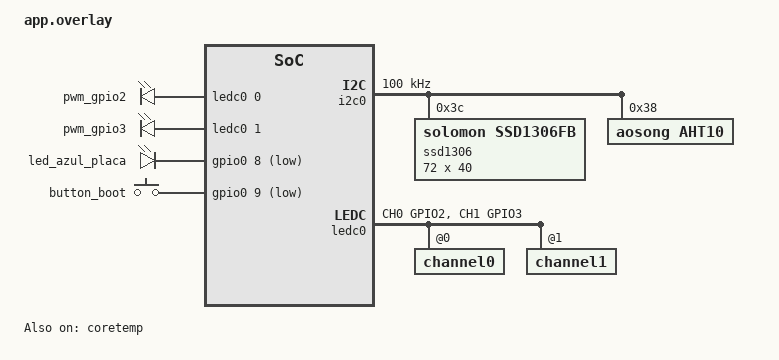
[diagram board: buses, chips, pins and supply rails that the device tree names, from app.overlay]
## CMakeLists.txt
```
# SPDX-License-Identifier: Apache-2.0

# Define the minimum CMake version required by the Zephyr SDK
cmake_minimum_required(VERSION 3.20.0)

# Locate and load the Zephyr build system package
find_package(Zephyr REQUIRED HINTS $ENV{ZEPHYR_BASE})

# Define the project name
project(cfb)

# Source File Discovery: Automatically gathers all '.c' files in 'src'.
# This allows for a modular project structure without manual file listing.
FILE(GLOB app_sources src/*.c)

# Application Target: Links the discovered source files.
target_sources(app PRIVATE ${app_sources})

# Include Directory Mapping: Tells the compiler where to look for .h files.
# This enables the use of #include "filename.h" for files inside 'inc'.
target_include_directories(app PRIVATE inc)
```

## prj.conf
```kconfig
CONFIG_STDOUT_CONSOLE=y

CONFIG_HEAP_MEM_POOL_SIZE=16384

CONFIG_I2C=y

CONFIG_DISPLAY=y
CONFIG_SSD1306=y

CONFIG_LOG=y
CONFIG_CHARACTER_FRAMEBUFFER=y

CONFIG_SENSOR=y

CONFIG_WATCHDOG=y

CONFIG_PWM=y

CONFIG_NVS=y
CONFIG_FLASH=y
CONFIG_FLASH_PAGE_LAYOUT=y
CONFIG_MPU_ALLOW_FLASH_WRITE=y

CONFIG_LOG=y
CONFIG_WIFI=y
CONFIG_NET_L2_WIFI_MGMT=y
CONFIG_NETWORKING=y
CONFIG_NET_IPV4=y
CONFIG_NET_IPV4=y
CONFIG_NET_DHCPV4=y
CONFIG_NET_CONFIG_SETTINGS=y
CONFIG_NET_PKT_RX_COUNT=6
CONFIG_NET_PKT_TX_COUNT=6
CONFIG_NET_BUF_RX_COUNT=16
CONFIG_NET_BUF_TX_COUNT=16
CONFIG_HEAP_MEM_POOL_SIZE=60000
```

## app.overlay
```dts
#include <zephyr/dt-bindings/i2c/i2c.h>
#include <zephyr/dt-bindings/pwm/pwm.h>

/ {
	#address-cells = <1>;
	#size-cells = <1>;

	cpus {
		cpu0: cpu@0 {
			device_type = "cpu";
			compatible = "espressif,riscv";
			reg = <0>;
			clock-frequency = <160000000>;
			xtal-freq = <40000000>;
		};
	};

	clock: clock {
		compatible = "espressif,esp32-clock";
		status = "okay";
		#clock-cells = <1>;
		fast-clk-src = <1>; 
		slow-clk-src = <0>;
	};
	
	chosen {
		zephyr,display = &ssd1306;
	};

	pwm_leds {
		compatible = "pwm-leds";
		
		pwm_gpio2: pwm_gpio2 {
			pwms = <&ledc0 0 50000 PWM_POLARITY_NORMAL>;	/* 20kHz */
		};
		
		pwm_gpio3: pwm_gpio3 {
			pwms = <&ledc0 1 100000 PWM_POLARITY_NORMAL>;	/* 10kHz */
		};
	};

	aliases {
		led0 = &led_azul_placa;
		sw0 = &button_boot;
	};

	leds {
		compatible = "gpio-leds";
		
		led_azul_placa: led_azul {
			gpios = <&gpio0 8 GPIO_ACTIVE_LOW>;
		};
	};

	buttons {
		compatible = "gpio-keys";
		
		button_boot: button_boot {
			gpios = <&gpio0 9 (GPIO_PULL_UP | GPIO_ACTIVE_LOW)>;
		};
	};
};

&i2c0 {
	status = "okay";
	clock-frequency = <I2C_BITRATE_STANDARD>;

	ssd1306: ssd1306@3c {
		compatible = "solomon,ssd1306fb";
		status = "okay";
		reg = <0x3c>;
		width = <72>;
		height = <40>;
		segment-offset = <28>;
		page-offset = <0>;
		display-offset = <0>;
		multiplex-ratio = <39>;
		segment-remap;
		com-invdir;
		prechargep = <0x22>;
	};
	
	aht10: aht10@38 {
		compatible = "aosong,aht10";
		reg = <0x38>;
	};
};

&coretemp { 
	status = "okay"; 
};

&ledc0 {
	status = "okay";
	#pwm-cells = <3>;
	pinctrl-0 = <&ledc0_default>;
	pinctrl-names = "default";
	#address-cells = <1>;
	#size-cells = <0>;
	
	channel0@0 {
		reg = <0x0>;
		timer = <0>;
	};
	
	channel1@1 { 
		reg = <0x1>;
		timer = <1>;
	};
};

&pinctrl {
	i2c0_default: i2c0_default {
		group1 {
			pinmux = <I2C0_SDA_GPIO5>, <I2C0_SCL_GPIO6>;
			bias-pull-up;
			drive-open-drain;
			output-high;
		};
	};
	
	ledc0_default: ledc0_default {
		group1 {
			pinmux = <LEDC_CH0_GPIO2>, <LEDC_CH1_GPIO3>;
			output-enable;
		};
	};

};
```

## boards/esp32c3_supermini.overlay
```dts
#include <zephyr/dt-bindings/i2c/i2c.h>
#include <zephyr/dt-bindings/pwm/pwm.h>

/ {
	#address-cells = <1>;
	#size-cells = <1>;

	cpus {
		cpu0: cpu@0 {
			device_type = "cpu";
			compatible = "espressif,riscv";
			reg = <0>;
			clock-frequency = <160000000>;
			xtal-freq = <40000000>;
		};
	};

	clock: clock {
		compatible = "espressif,esp32-clock";
		status = "okay";
		#clock-cells = <1>;
		fast-clk-src = <1>; 
		slow-clk-src = <0>;
	};
	
	chosen {
		zephyr,display = &ssd1306;
	};

	pwm_leds {
		compatible = "pwm-leds";
		
		pwm_gpio2: pwm_gpio2 {
			pwms = <&ledc0 0 50000 PWM_POLARITY_NORMAL>;	/* 20kHz */
		};
		
		pwm_gpio3: pwm_gpio3 {
			pwms = <&ledc0 1 100000 PWM_POLARITY_NORMAL>;	/* 10kHz */
		};
	};

	aliases {
		led0 = &led_azul_placa;
		sw0 = &button_boot;
	};

	leds {
		compatible = "gpio-leds";
		
		led_azul_placa: led_azul {
			gpios = <&gpio0 8 GPIO_ACTIVE_LOW>;
		};
	};

	buttons {
		compatible = "gpio-keys";
		
		button_boot: button_boot {
			gpios = <&gpio0 9 (GPIO_PULL_UP | GPIO_ACTIVE_LOW)>;
		};
	};
};

&i2c0 {
	status = "okay";
	clock-frequency = <I2C_BITRATE_FAST>;

	ssd1306: ssd1306@3c {
		compatible = "solomon,ssd1306fb";
		status = "okay";
		reg = <0x3c>;
		width = <72>;
		height = <40>;
		segment-offset = <28>;
		page-offset = <0>;
		display-offset = <0>;
		multiplex-ratio = <39>;
		segment-remap;
		com-invdir;
		prechargep = <0x22>;
	};
	
	aht10: aht10@38 {
		compatible = "aosong,aht10";
		reg = <0x38>;
	};
};

&coretemp { 
	status = "okay"; 
};

&ledc0 {
	status = "okay";
	#pwm-cells = <3>;
	pinctrl-0 = <&ledc0_default>;
	pinctrl-names = "default";
	#address-cells = <1>;
	#size-cells = <0>;
	
	channel0@0 {
		reg = <0x0>;
		timer = <0>;
	};
	
	channel1@1 { 
		reg = <0x1>;
		timer = <1>;
	};
};

&pinctrl {
	i2c0_default: i2c0_default {
		group1 {
			pinmux = <I2C0_SDA_GPIO5>, <I2C0_SCL_GPIO6>;
			bias-pull-up;
			drive-open-drain;
			output-high;
		};
	};
	
	ledc0_default: ledc0_default {
		group1 {
			pinmux = <LEDC_CH0_GPIO2>, <LEDC_CH1_GPIO3>;
			output-enable;
		};
	};

};

&flash0 {
    partitions {
        compatible = "fixed-partitions";
        #address-cells = <1>;
        #size-cells = <1>;

        my_storage: partition@250000 {
            label = "nvs_storage"; 
            reg = <0x00250000 0x00004000>; 
        };
    };
};
```

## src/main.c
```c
#include <zephyr/kernel.h>
#include "wifi_module.h"

int main(void) {
    init_wifi_manager();

    // Pequeno atraso para garantir que o rádio estabilizou
    k_msleep(500);
    
    // Tenta conectar à rede específica
    wifi_connect_to_si();
    
    while (1) {
        k_msleep(1000); // Mantém o main vivo
    }
    return 0;
}
```

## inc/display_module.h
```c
/*
 * Display Module Interface.
 * Defines the shared synchronization primitives and task entry points
 * for the OLED and Sensor management system.
 */

#ifndef DISPLAY_MODULE_H
#define DISPLAY_MODULE_H

#include <zephyr/kernel.h>

/* * Shared Semaphores
 * These are defined in main.c and used here to coordinate 
 * timing and system-ready states.
 */

/** @brief Semaphore triggered by a timer to request a UI redraw. */
extern struct k_sem sem_ui_refresh;

/** @brief Semaphore used to signal that all hardware is ready for use. */
extern struct k_sem sem_system_ready;

/** @brief Optional: Semaphore used for precise sensor measurement timing. */
extern struct k_sem sem_sensor_wait;

/**
 * @brief Main entry point for the display thread.
 * * This function handles the I2C communication with the AHT10 
 * and the frame buffer rendering for the SSD1306.
 */
void display_task_entry(void);

#endif /* DISPLAY_MODULE_H */
```

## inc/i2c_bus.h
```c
/*
 * I2C Bus Manager Interface.
 * Centralizes hardware access and synchronization for all I2C devices.
 */

#ifndef I2C_BUS_H
#define I2C_BUS_H

#include <zephyr/drivers/i2c.h>
#include <zephyr/kernel.h>

/** * @brief External reference to the I2C device specification.
 * * This spec is linked to the 'aht10' node in the devicetree.
 * * Used by both sensor reading and display rendering tasks.
 */
extern const struct i2c_dt_spec sensor_bus;

/** * @brief System-wide I2C Mutex.
 * * Prevents concurrent access to the SDA/SCL lines.
 * * Essential for stability when multiple threads share the same bus.
 */
extern struct k_mutex i2c_mutex;

/**
 * @brief Initializes and verifies the I2C bus hardware.
 * * Checks if the I2C controller is ready.
 * * Performs a software configuration/reset of the bus to ensure 
 * it is in a clean state after a hardware reset.
 */
void init_i2c_bus(void);

#endif /* I2C_BUS_H */
```

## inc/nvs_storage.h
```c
/*
 * Non-Volatile Storage (NVS) Manager Interface.
 * Provides a simplified API for persistent data storage in Flash memory.
 */

#ifndef NVS_STORAGE_H
#define NVS_STORAGE_H

#include <zephyr/types.h>

/** * @brief NVS Data ID for the boot counter.
 * * Each unique piece of data in NVS must have a unique ID (1 to 65535).
 */
#define BOOT_COUNT_ID 1

/**
 * @brief Initializes the Non-Volatile Storage system.
 * * * Locates the flash partition.
 * * Mounts the NVS filesystem.
 * * Formats/Erases the storage area if initialization fails.
 * * @return 0 on success, negative error code on failure.
 */
int init_nvs_storage(void);

/**
 * @brief Increments the boot counter stored in Flash.
 * * * Reads the current value from NVS.
 * * Increments the value (resetting to 1 if it exceeds 5).
 * * Writes the updated value back to Flash.
 * * @return The newly updated boot count (1 to 5).
 */
uint32_t increment_boot_count(void);

#endif /* NVS_STORAGE_H */
```

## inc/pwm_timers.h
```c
/*
 * PWM and GPIO Peripheral Interface.
 * Defines the shared atomic flags, PWM utility macros, and hardware 
 * initialization prototypes for the ESP32-C3 SuperMini.
 */

#ifndef PWM_TIMERS_H
#define PWM_TIMERS_H

#include <zephyr/drivers/gpio.h>
#include <zephyr/drivers/pwm.h>
#include <zephyr/sys/atomic.h>

/**
 * @brief Macro to calculate PWM duty cycle from a percentage.
 * * Converts 0-100% into the period units required by the driver.
 * @param period Total period of the PWM signal (usually in nanoseconds).
 * @param percent Desired duty cycle (0 to 100).
 */
//#define PWM_PERCENT(period, percent)    ((uint64_t)(period) * (percent) / 100)

/* * Shared Atomic Flags
 * Used for thread-safe communication between Timers, ISRs, and the Main Loop.
 */

/** @brief Flag to enable/disable the LED blinking (toggled by Button). */
extern atomic_t heartbeat_enabled;

/** @brief Flag set by the timer to trigger an LED toggle in the main loop. */
extern atomic_t heartbeat_trigger;

/**
 * @brief Initializes all GPIO pins, Interrupts (ISR), and PWM channels.
 * * * Configures internal LED (GPIO8).
 * * Configures Boot Button (GPIO9) with pull-up.
 * * Starts static PWM on GPIO2 and GPIO3.
 */
void init_pwm_gpio(void);

/**
 * @brief Processes the heartbeat LED toggle logic.
 * * Should be called periodically within the main loop.
 * * Consumes the heartbeat_trigger flag atomically.
 */
void handle_heartbeat(void);

/**
 * @brief Callback function for the heartbeat kernel timer.
 * * Runs in ISR context. Sets the heartbeat_trigger flag.
 * @param dummy Pointer to the timer structure (unused).
 */
void heartbeat_timer_cb(struct k_timer *dummy);

#endif /* PWM_TIMERS_H */
```

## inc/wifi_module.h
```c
#ifndef WIFI_MODULE_H
#define WIFI_MODULE_H

#include <zephyr/types.h>
#include <stdbool.h>

#define MAX_SSID_LEN 33

int init_wifi_manager(void);
int wifi_connect_to_si(void);
char* get_strongest_ssid(void);
int get_wifi_count(void);
int8_t get_best_rssi(void);
bool is_wifi_connected(void);

#endif /* WIFI_MODULE_H */
```

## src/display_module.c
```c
#include <zephyr/kernel.h>
#include <zephyr/device.h>
#include <zephyr/display/cfb.h>
#include <stdio.h>
#include "wifi_module.h"

#define DISPLAY_NODE DT_CHOSEN(zephyr_display)

void display_task(void) {
    const struct device *disp = DEVICE_DT_GET(DISPLAY_NODE);
    if (!device_is_ready(disp)) return;
    cfb_framebuffer_init(disp);
    cfb_framebuffer_invert(disp);

    uint16_t screen_w = cfb_get_display_parameter(disp, CFB_DISPLAY_WIDTH);
    uint16_t screen_h = cfb_get_display_parameter(disp, CFB_DISPLAY_HEIGHT);
    uint8_t font_w, font_h;
    cfb_get_font_size(disp, 0, &font_w, &font_h);

    while (1) {
        char *ssid = get_strongest_ssid();
        int8_t rssi = get_best_rssi();
        bool online = is_wifi_connected();
        char buf[32];

        cfb_framebuffer_clear(disp, false);

        int len;

        len = snprintf(buf, sizeof(buf), "%.10s", ssid);
        cfb_print(disp, buf, (screen_w - len * font_w) / 2, 0);

        len = snprintf(buf, sizeof(buf), "%d", rssi);
        cfb_print(disp, buf, (screen_w - len * font_w) / 2, (screen_h - font_h) / 2);

        len = snprintf(buf, sizeof(buf), "%s", online ? "ONLINE" : "OFFLINE");
        cfb_print(disp, buf, (screen_w - len * font_w) / 2, screen_h - font_h);
        
        cfb_framebuffer_finalize(disp);

        k_msleep(100);
    }
}

K_THREAD_DEFINE(display_tid, 2048, display_task, NULL, NULL, NULL, 7, 0, 0);
```

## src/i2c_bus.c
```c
/*
 * I2C Bus Manager Implementation.
 * Handles hardware binding and synchronization primitives.
 */

#include "i2c_bus.h"

/**
 * @brief I2C Device Specification.
 * Links the software spec to the 'aht10' label in the app.overlay.
 * This structure contains the controller device and the target slave address.
 */
const struct i2c_dt_spec sensor_bus = I2C_DT_SPEC_GET(DT_NODELABEL(aht10));

/**
 * @brief Global I2C Mutex Definition.
 * This mutex is shared across the display and sensor tasks to 
 * prevent simultaneous access to the I2C hardware registers.
 */
K_MUTEX_DEFINE(i2c_mutex);

/**
 * @brief Initializes the I2C hardware peripheral.
 * * * Verifies that the I2C driver is ready for use.
 * * Configures the bus for Standard Speed (100kHz) and Controller (Master) mode.
 * * This ensures a stable communication state following a CPU reset.
 */
void init_i2c_bus(void) {
    /* Check if the underlying I2C controller driver is initialized */
    if (device_is_ready(sensor_bus.bus)) {
        /* * Force I2C configuration. This helps recover the bus if a 
         * peripheral was left in an unstable state during a quick reset.
         */
        i2c_configure(sensor_bus.bus, 
                      I2C_SPEED_SET(I2C_SPEED_STANDARD) | 
                      I2C_MODE_CONTROLLER);
    }
}
```

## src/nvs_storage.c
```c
/*
 * Non-Volatile Storage (NVS) Manager.
 * Handles persistent data across reboots and power cycles.
 */

#include "nvs_storage.h"
#include <zephyr/drivers/flash.h>
#include <zephyr/fs/nvs.h>
#include <zephyr/device.h>

/* File system structure for NVS */
static struct nvs_fs fs;

/* Link to the 'my_storage' partition defined in the app.overlay */
#define NVS_PARTITION_NODE DT_NODELABEL(my_storage)

/**
 * @brief Initializes the NVS file system in Flash memory.
 * * 1. Locates the flash device and memory offset.
 * * 2. Retrieves sector information (page size).
 * * 3. Mounts the file system or formats it if corrupted.
 * * @return 0 on success, negative error code otherwise.
 */
int init_nvs_storage(void) {
    struct flash_pages_info info;

    /* Bind the NVS structure to the physical flash partition */
    fs.flash_device = DEVICE_DT_GET(DT_MTD_FROM_FIXED_PARTITION(NVS_PARTITION_NODE));
    fs.offset = DT_REG_ADDR(NVS_PARTITION_NODE);

    /* Ensure the flash driver is ready */
    if (!device_is_ready(fs.flash_device)) {
        return -1;
    }

    /* Retrieve page info to set the sector size correctly */
    flash_get_page_info_by_offs(fs.flash_device, fs.offset, &info);
    fs.sector_size = info.size;
    fs.sector_count = 3; /* Using 3 sectors for wear leveling */

    /* Attempt to mount the NVS filesystem */
    int rc = nvs_mount(&fs);
    if (rc) {
        /* * If mounting fails (e.g., empty or corrupted flash), 
         * erase the area and try again.
         */
        flash_erase(fs.flash_device, fs.offset, fs.sector_count * fs.sector_size);
        return nvs_mount(&fs);
    }
    return 0;
}

/**
 * @brief Reads, increments, and stores the boot counter.
 * Logic: Cycles from 1 to 5. If it reaches 5, it resets to 1.
 * * @return The updated boot count.
 */
uint32_t increment_boot_count(void) {
    uint32_t count = 0;

    /* Read the existing value from ID 1. If not found, count remains 0. */
    nvs_read(&fs, BOOT_COUNT_ID, &count, sizeof(count));

    /* Increment logic with a hard limit of 5 */
    if (count >= 5) {
        count = 1;
    } else {
        count++;
    }

    /* Write the new value back to Flash */
    nvs_write(&fs, BOOT_COUNT_ID, &count, sizeof(count));

    return count;
}
```

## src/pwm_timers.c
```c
/*
 * PWM and GPIO Peripheral Manager.
 * Handles the status LED, User Input (Button), and Static PWM signals.
 */

#include "pwm_timers.h"
#include <zephyr/kernel.h>

/* Hardware specifications retrieved from the Devicetree */
static const struct gpio_dt_spec led_internal = GPIO_DT_SPEC_GET(DT_ALIAS(led0), gpios);
static const struct gpio_dt_spec btn_boot     = GPIO_DT_SPEC_GET(DT_ALIAS(sw0), gpios);
//static const struct pwm_dt_spec  pwm_fade      = PWM_DT_SPEC_GET(DT_NODELABEL(pwm_gpio2));
//static const struct pwm_dt_spec  pwm_static    = PWM_DT_SPEC_GET(DT_NODELABEL(pwm_gpio3));

/* Atomic flags for thread-safe state management */
atomic_t heartbeat_enabled = ATOMIC_INIT(1);  /* Tracks if the LED should blink */
atomic_t heartbeat_trigger = ATOMIC_INIT(0);  /* Signal from timer to toggle LED */
static struct gpio_callback btn_cb_data;

/**
 * @brief Button Interrupt Service Routine (ISR).
 * Toggles the heartbeat status when the button is pressed.
 * Includes a 250ms debounce window.
 */
void button_isr(const struct device *dev, struct gpio_callback *cb, uint32_t pins) {
    static uint32_t last_press = 0;
    uint32_t now = k_uptime_get_32();

    /* Software Debouncing */
    if (now - last_press > 250) {
        /* Toggle the heartbeat state atomically */
        atomic_set(&heartbeat_enabled, !atomic_get(&heartbeat_enabled));
        last_press = now;
    }
}

/**
 * @brief Initializes GPIOs, Interrupts, and PWM channels.
 * * Configures internal LED as output.
 * * Sets up the Boot Button with Pull-up and Edge Interrupt.
 * * Starts static PWM signals on GPIO2 and GPIO3.
 */
void init_pwm_gpio(void) {
    /* Status LED setup */
    gpio_pin_configure_dt(&led_internal, GPIO_OUTPUT_INACTIVE);

    /* Button setup with interrupt callback */
    gpio_pin_configure_dt(&btn_boot, GPIO_INPUT | GPIO_PULL_UP);
    gpio_pin_interrupt_configure_dt(&btn_boot, GPIO_INT_EDGE_TO_ACTIVE);
    gpio_init_callback(&btn_cb_data, button_isr, BIT(btn_boot.pin));
    gpio_add_callback(btn_boot.port, &btn_cb_data);

    /* PWM Channel 1: Static 10% Duty Cycle */
    //if (device_is_ready(pwm_fade.dev)) {
        //pwm_set_dt(&pwm_fade, pwm_fade.period, PWM_PERCENT(pwm_fade.period, 10));
    //}

    /* PWM Channel 2: Static 20% Duty Cycle */
    //if (device_is_ready(pwm_static.dev)) {
        //pwm_set_dt(&pwm_static, pwm_static.period, PWM_PERCENT(pwm_static.period, 20));
    //}
}

/**
 * @brief Processes the LED heartbeat toggle.
 * Called from the main loop. Uses atomic_cas to consume the trigger.
 */
void handle_heartbeat(void) {
    /* If the trigger was set to 1 by the timer, reset it to 0 and proceed */
    if (atomic_cas(&heartbeat_trigger, 1, 0)) {
        if (atomic_get(&heartbeat_enabled)) {
            gpio_pin_toggle_dt(&led_internal);
        } else {
            /* If disabled via button, ensure LED stays OFF */
            gpio_pin_set_dt(&led_internal, 0);
        }
    }
}

/**
 * @brief Timer callback to signal a heartbeat tick.
 * Runs in ISR context; sets the trigger flag atomically.
 */
void heartbeat_timer_cb(struct k_timer *dummy) { 
    atomic_set(&heartbeat_trigger, 1); 
}
```

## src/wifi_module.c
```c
#include <zephyr/net/wifi_mgmt.h>
#include <zephyr/net/net_mgmt.h>
#include <zephyr/net/net_if.h>
#include <zephyr/kernel.h>
#include <string.h>
#include "wifi_module.h"

static char best_ssid[MAX_SSID_LEN] = "None";
static int8_t max_rssi = -127;
static int total_networks = 0;

K_MUTEX_DEFINE(wifi_data_mutex);
K_SEM_DEFINE(scan_done_sem, 0, 1);

static void wifi_mgmt_event_handler(struct net_mgmt_event_callback *cb,
                                    uint64_t mgmt_event, struct net_if *iface)
{
    if (mgmt_event == NET_EVENT_WIFI_SCAN_RESULT) {
        const struct wifi_scan_result *res = (const struct wifi_scan_result *)cb->info;
        k_mutex_lock(&wifi_data_mutex, K_FOREVER);
        total_networks++;
        if (res->ssid_length > 0 && res->rssi > max_rssi) {
            max_rssi = res->rssi;
            size_t copy_len = MIN(res->ssid_length, MAX_SSID_LEN - 1);
            memcpy(best_ssid, res->ssid, copy_len);
            best_ssid[copy_len] = '\0';
        }
        k_mutex_unlock(&wifi_data_mutex);
    } 
    else if (mgmt_event == NET_EVENT_WIFI_SCAN_DONE) {
        k_sem_give(&scan_done_sem);
    }
}

static struct net_mgmt_event_callback wifi_cb;
static struct net_mgmt_event_callback wifi_done_cb;

int init_wifi_manager(void) {
    net_mgmt_init_event_callback(&wifi_cb, wifi_mgmt_event_handler, NET_EVENT_WIFI_SCAN_RESULT);
    net_mgmt_init_event_callback(&wifi_done_cb, wifi_mgmt_event_handler, NET_EVENT_WIFI_SCAN_DONE);
    net_mgmt_add_event_callback(&wifi_cb);
    net_mgmt_add_event_callback(&wifi_done_cb);
    return 0;
}

int wifi_connect_to_si(void) {
    struct net_if *iface = net_if_get_default();
    struct wifi_connect_req_params params = {
        .ssid = "SI_WIFI",
        .ssid_length = strlen("SI_WIFI"),
        .psk = "SInternet",
        .psk_length = strlen("SInternet"),
        .channel = WIFI_CHANNEL_ANY,
        .security = WIFI_SECURITY_TYPE_PSK,
        .band = WIFI_FREQ_BAND_2_4_GHZ,
    };
    return net_mgmt(NET_REQUEST_WIFI_CONNECT, iface, &params, sizeof(params));
}

bool is_wifi_connected(void) {
    struct net_if *iface = net_if_get_default();
    if (!iface || !iface->config.ip.ipv4) return false;

    for (int i = 0; i < NET_IF_MAX_IPV4_ADDR; i++) {
        struct net_if_addr *ifaddr = &iface->config.ip.ipv4->unicast[i];
        if (ifaddr->is_used && ifaddr->address.family == AF_INET) {
            return true;
        }
    }
    return false;
}

char* get_strongest_ssid(void) {
    struct net_if *iface = net_if_get_default();
    k_mutex_lock(&wifi_data_mutex, K_FOREVER);
    max_rssi = -127; total_networks = 0;
    strcpy(best_ssid, "Scanning...");
    k_mutex_unlock(&wifi_data_mutex);

    if (net_mgmt(NET_REQUEST_WIFI_SCAN, iface, NULL, 0)) return "Error";
    k_sem_take(&scan_done_sem, K_SECONDS(5));
    return best_ssid;
}

int get_wifi_count(void) {
    int val;
    k_mutex_lock(&wifi_data_mutex, K_FOREVER);
    val = total_networks;
    k_mutex_unlock(&wifi_data_mutex);
    return val;
}

int8_t get_best_rssi(void) {
    int8_t val;
    k_mutex_lock(&wifi_data_mutex, K_FOREVER);
    val = max_rssi;
    k_mutex_unlock(&wifi_data_mutex);
    return val;
}
```
